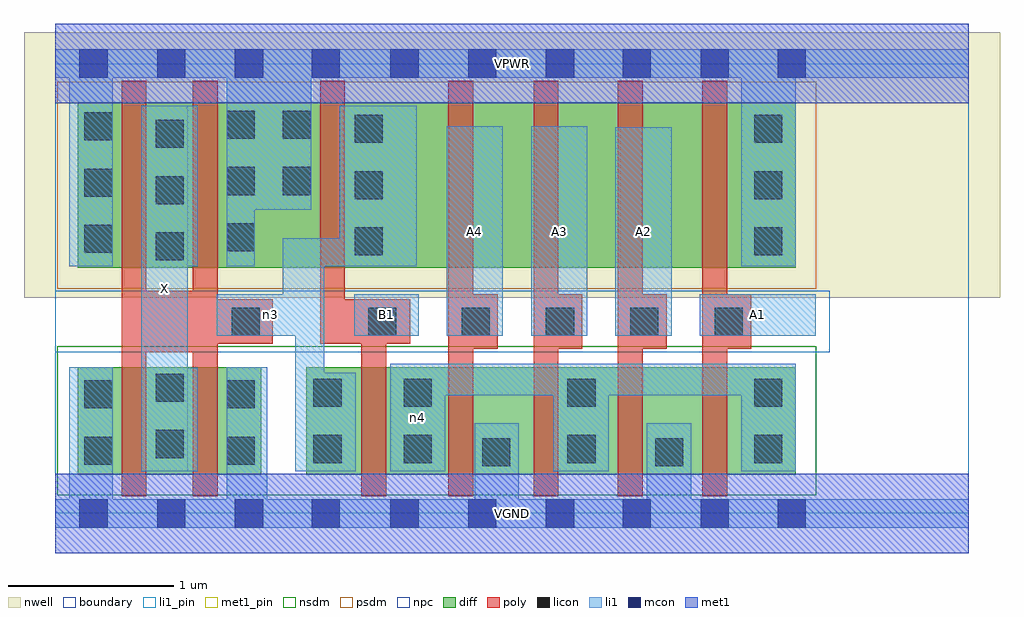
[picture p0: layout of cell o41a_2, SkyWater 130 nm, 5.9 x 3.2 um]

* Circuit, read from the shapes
.subckt o41a_2 A1 A2 A3 A4 B1 VGND VPWR X n3 n4
XM1 X n3 VGND VSUBS sky130_fd_pr__nfet_01v8 w=0.65 l=0.15 m=2
XM2 n4 B1 n3 VSUBS sky130_fd_pr__nfet_01v8 w=0.65 l=0.15
XM3 VGND A4 n4 VSUBS sky130_fd_pr__nfet_01v8 w=0.65 l=0.15
XM4 n4 A3 VGND VSUBS sky130_fd_pr__nfet_01v8 w=0.65 l=0.15
XM5 VGND A2 n4 VSUBS sky130_fd_pr__nfet_01v8 w=0.65 l=0.15
XM6 n4 A1 VGND VSUBS sky130_fd_pr__nfet_01v8 w=0.65 l=0.15
XM7 X n3 VPWR n1 sky130_fd_pr__pfet_01v8 w=1 l=0.15 m=2
XM8 n3 B1 VPWR n1 sky130_fd_pr__pfet_01v8 w=1 l=0.15
XM9 n2 A4 n3 n1 sky130_fd_pr__pfet_01v8 w=1 l=0.15
XM10 n5 A3 n2 n1 sky130_fd_pr__pfet_01v8 w=1 l=0.15
XM11 n6 A2 n5 n1 sky130_fd_pr__pfet_01v8 w=1 l=0.15
XM12 VPWR A1 n6 n1 sky130_fd_pr__pfet_01v8 w=1 l=0.15
.ends

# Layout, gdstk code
import gdstk
lib = gdstk.Library(unit=1e-6, precision=1e-09)
def R(c, l, rs):  # rectangles x0, y0, x1, y1
    for r in rs: c.add(gdstk.rectangle(r[:2], r[2:], *l))
def A(c, l, x, y, w, h, nx, ny, dx, dy):  # array of equal rectangles
    R(c, l, [(x+i*dx, y+j*dy, x+i*dx+w, y+j*dy+h) for i in range(nx) for j in range(ny)])
nwell = (64, 20)
diff = (65, 20)
poly = (66, 20)
licon = (66, 44)
li1_pin = (67, 16)
li1 = (67, 20)
mcon = (67, 44)
met1_pin = (68, 16)
met1 = (68, 20)
nsdm = (93, 44)
psdm = (94, 20)
npc = (95, 20)
boundary = (235, 4)

o41a_2 = lib.new_cell('o41a_2')
R(o41a_2, nwell, [(-0.19,1.305,5.71,2.91), (0,1.305,5.52,2.91)])
R(o41a_2, diff, [(0.135,0.235,1.245,0.885), (1.515,0.235,4.475,0.885), (0.135,1.485,4.475,2.485)])
A(o41a_2, poly, 2.89, 0.105, 0.15, 2.51, 3, 1, 0.51, 0)
A(o41a_2, poly, 2.89, 0.995, 0.295, 0.33, 3, 1, 0.51, 0)
R(o41a_2, poly, [(0.4,0.105,0.55,2.615), (0.83,0.105,0.98,2.615), (1.85,0.105,2,1.295), (2.375,0.105,2.525,2.615), (0.4,0.975,0.98,1.345), (2.375,0.995,2.675,1.325), (0.4,1.025,1.315,1.295), (1.6,1.025,1.75,2.615), (1.6,1.025,2.145,1.295)])
A(o41a_2, licon, 2.455, 1.075, 0.17, 0.17, 4, 1, 0.51, 0)
A(o41a_2, licon, 0.605, 1.53, 0.17, 0.17, 1, 3, 0, 0.34)
A(o41a_2, licon, 1.81, 1.56, 0.17, 0.17, 1, 3, 0, 0.34)
A(o41a_2, licon, 4.225, 1.56, 0.17, 0.17, 1, 3, 0, 0.34)
A(o41a_2, licon, 0.175, 1.575, 0.17, 0.17, 1, 3, 0, 0.34)
A(o41a_2, licon, 1.035, 1.585, 0.17, 0.17, 1, 3, 0, 0.34)
R(o41a_2, licon, [(2.58,0.285,2.75,0.455), (3.625,0.285,3.795,0.455), (0.175,0.295,0.345,0.465), (1.035,0.295,1.205,0.465), (1.56,0.305,1.73,0.475), (2.105,0.305,2.275,0.475), (3.095,0.305,3.265,0.475), (4.225,0.305,4.395,0.475), (0.605,0.335,0.775,0.505), (0.175,0.635,0.345,0.805), (1.035,0.635,1.205,0.805), (1.56,0.645,1.73,0.815), (2.105,0.645,2.275,0.815), (3.095,0.645,3.265,0.815), (4.225,0.645,4.395,0.815), (0.605,0.675,0.775,0.845), (1.065,1.075,1.235,1.245), (1.89,1.075,2.06,1.245), (1.375,1.925,1.545,2.095), (1.375,2.265,1.545,2.435)])
R(o41a_2, li1_pin, [(0.52,0.255,0.8,2.465), (1.805,1.075,2.195,1.325), (2.365,1.075,2.705,2.34), (2.875,1.075,3.215,2.34), (3.385,1.075,3.725,2.335), (3.895,1.075,4.595,1.325)])
R(o41a_2, li1, [(0,-0.085,5.52,0.085), (0.085,-0.085,0.345,0.885), (1.035,-0.085,1.28,0.885), (2.535,-0.085,2.8,0.545), (3.575,-0.085,3.845,0.545), (0.52,0.255,0.8,2.465), (0.52,0.255,0.86,0.88), (1.45,0.255,1.625,1.665), (1.45,0.255,1.815,0.85), (2.025,0.255,2.355,0.905), (3.01,0.255,3.345,0.905), (4.145,0.255,4.475,0.905), (2.025,0.715,4.475,0.905), (0.975,1.075,1.625,1.325), (1.375,1.075,1.625,1.665), (1.805,1.075,2.195,1.325), (2.365,1.075,2.705,2.34), (2.875,1.075,3.215,2.34), (3.385,1.075,3.725,2.335), (3.895,1.075,4.595,1.325), (0.085,1.495,0.345,2.805), (0.52,1.495,0.86,2.465), (1.035,1.495,1.205,2.805), (1.375,1.495,2.185,1.665), (1.72,1.495,2.185,2.465), (4.145,1.495,4.475,2.805), (1.035,1.835,1.545,2.805), (0,2.635,5.52,2.805)])
A(o41a_2, mcon, 0.145, -0.085, 0.17, 0.17, 3, 2, 0.47, 2.72)
A(o41a_2, mcon, 2.025, -0.085, 0.17, 0.17, 3, 2, 0.47, 2.72)
R(o41a_2, mcon, [(1.55,-0.085,1.72,0.085), (3.43,-0.085,3.6,0.085), (3.9,-0.085,4.07,0.085), (4.365,-0.085,4.535,0.085), (1.55,2.635,1.72,2.805), (3.43,2.635,3.6,2.805), (3.9,2.635,4.07,2.805), (4.365,2.635,4.535,2.805)])
R(o41a_2, met1_pin, [(0,-0.24,5.52,0.24), (0,2.48,5.52,2.96)])
R(o41a_2, met1, [(0,-0.24,5.52,0.24), (0,2.48,5.52,2.96)])
R(o41a_2, nsdm, [(0.01,0.11,4.6,1.01)])
R(o41a_2, psdm, [(0.01,1.36,4.6,2.61)])
R(o41a_2, npc, [(0,0.975,4.68,1.345)])
R(o41a_2, boundary, [(0,0,5.52,2.72)])
o41a_2.add(gdstk.Label('A1', (4.245,1.2), layer=67, texttype=5))
o41a_2.add(gdstk.Label('A2', (3.555,1.705), layer=67, texttype=5))
o41a_2.add(gdstk.Label('A3', (3.045,1.707), layer=67, texttype=5))
o41a_2.add(gdstk.Label('A4', (2.535,1.707), layer=67, texttype=5))
o41a_2.add(gdstk.Label('B1', (2,1.2), layer=67, texttype=5))
o41a_2.add(gdstk.Label('X', (0.66,1.36), layer=67, texttype=5))
o41a_2.add(gdstk.Label('n4', (2.19,0.58), layer=67, texttype=5))
o41a_2.add(gdstk.Label('n3', (1.3,1.2), layer=67, texttype=5))
o41a_2.add(gdstk.Label('VPWR', (2.76,2.72), layer=68, texttype=5))
o41a_2.add(gdstk.Label('VGND', (2.76,0), layer=68, texttype=5))
o41a_2.add(gdstk.Label('A1', (4.245,1.2), layer=67, texttype=16))
o41a_2.add(gdstk.Label('A2', (3.555,1.705), layer=67, texttype=16))
o41a_2.add(gdstk.Label('A3', (3.045,1.707), layer=67, texttype=16))
o41a_2.add(gdstk.Label('A4', (2.535,1.707), layer=67, texttype=16))
o41a_2.add(gdstk.Label('B1', (2,1.2), layer=67, texttype=16))
o41a_2.add(gdstk.Label('X', (0.66,1.36), layer=67, texttype=16))
o41a_2.add(gdstk.Label('VPWR', (2.76,2.72), layer=68, texttype=16))
o41a_2.add(gdstk.Label('VGND', (2.76,0), layer=68, texttype=16))

lib.write_gds('o41a_2.gds')
